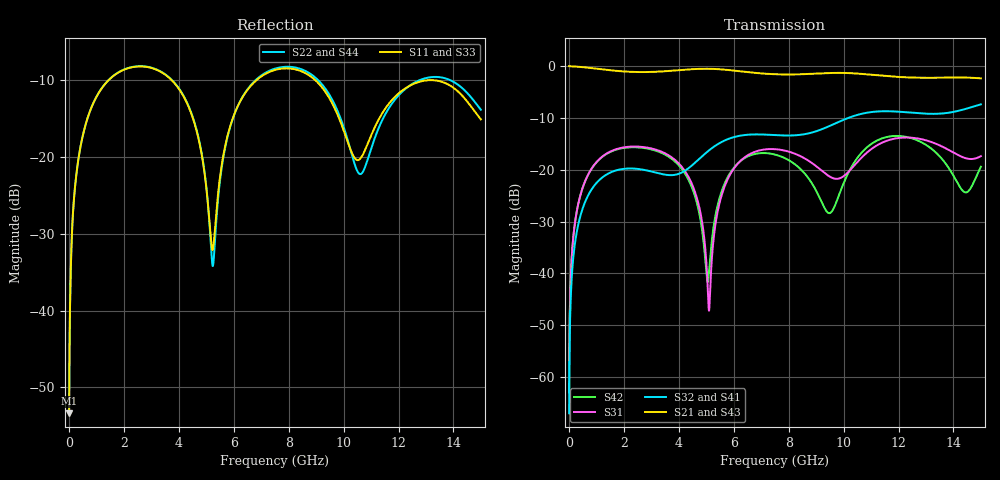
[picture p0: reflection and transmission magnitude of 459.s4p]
! Created with skrf 1.8.0 (http://scikit-rf.org).
# GHz S RI R 50.0
!freq ReS11 ImS11 ReS12 ImS12 ReS13 ImS13
! ReS14 ImS14
! ReS21 ImS21 ReS22 ImS22 ReS23 ImS23
! ReS24 ImS24
! ReS31 ImS31 ReS32 ImS32 ReS33 ImS33
! ReS34 ImS34
! ReS41 ImS41 ReS42 ImS42 ReS43 ImS43
! ReS44 ImS44
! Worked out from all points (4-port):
!   2499 points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, 5 MHz to 15 GHz, reference 50 ohm
!   strongest paths, dB at 5 MHz, 3.476 GHz, 7.19 GHz, 11.1 GHz, 15 GHz:
!     S21: 0.0, -1.0, -1.5, -1.7, -2.4
!     S43: 0.0, -1.0, -1.5, -1.7, -2.4
!     S32: -67.0, -20.9, -13.2, -8.8, -7.4
!     S41: -67.0, -21.0, -13.2, -8.8, -7.4
!     S31: -63.0, -16.8, -16.0, -15.7, -17.4
!     S42: -63.0, -17.0, -16.8, -14.7, -19.4
!   lowest |S11| = -53.4 dB at 5 MHz (marker M1), VSWR 1.00, Z = 50.2 + j0.13 ohm
!   |S11| at or under -10 dB: 3.74 GHz to 6.827 GHz (3.087 GHz wide, 58.4 % of centre); 8.97 GHz to 13.11 GHz (4.138 GHz wide, 37.5 % of centre); 13.25 GHz to end of sweep (the widest 3 of 4)
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0.005  0.00171 0.0013  0.9983 -0.00333  8.72e-05 0.000706  -8.45e-05 -0.000438
       0.9983 -0.00333  0.00171 0.0013  -8.45e-05 -0.000438  8.71e-05 0.000706
       8.72e-05 0.000706  -8.45e-05 -0.000438  0.00171 0.0013  0.9983 -0.00333
       -8.45e-05 -0.000438  8.71e-05 0.000706  0.9983 -0.00333  0.00171 0.0013
0.3126303  0.0258 0.085  0.9646 -0.2069  0.0125 0.0417  -0.0102 -0.0255
           0.9646 -0.2069  0.0259 0.085  -0.0102 -0.0255  0.0122 0.0418
           0.0125 0.0417  -0.0102 -0.0255  0.0258 0.085  0.9646 -0.2069
           -0.0102 -0.0255  0.0122 0.0418  0.9646 -0.2069  0.0259 0.085
1.519383  0.2753 0.1745  0.5345 -0.7371  0.1381 0.0599  -0.0942 -0.00343
          0.5345 -0.7371  0.2767 0.1735  -0.0942 -0.00336  0.1339 0.0656
          0.1381 0.0599  -0.0942 -0.00336  0.2752 0.1745  0.5346 -0.7371
          -0.0942 -0.00343  0.1339 0.0656  0.5346 -0.7371  0.2767 0.1734
5.095873  0.0274 -0.0316  -0.9291 -0.1552  -0.00433 0.000553  -0.0214 0.152
          -0.9291 -0.1552  0.0221 -0.0349  -0.0201 0.1522  0.0088 0.00511
          -0.00433 0.000553  -0.0201 0.1522  0.0292 -0.0304  -0.9292 -0.1551
          -0.0214 0.152  0.0088 0.00511  -0.9292 -0.1551  0.02 -0.0343
8.053356  0.3764 -0.00827  -0.0274 0.8296  0.1022 -0.1072  0.2102 -0.0399
          -0.0274 0.8296  0.3858 -0.0178  0.2098 -0.0421  0.1011 -0.0672
          0.1022 -0.1072  0.2098 -0.0421  0.3771 -0.0109  -0.0281 0.8292
          0.2102 -0.0399  0.1011 -0.0672  -0.0281 0.8292  0.3867 -0.0143
10.87953  0.1126 0.0472  0.8289 -0.0571  0.0278 0.146  -0.0399 -0.3535
          0.8289 -0.0571  0.0897 0.0357  -0.0446 -0.3531  0.057 0.1569
          0.0278 0.146  -0.0446 -0.3531  0.1118 0.0446  0.8292 -0.0548
          -0.0399 -0.3535  0.057 0.1569  0.8292 -0.0548  0.0902 0.0351
15  0.1705 -0.0431  -0.5859 -0.4859  -0.1349 0.0115  -0.2864 0.3179
    -0.5859 -0.4859  0.1848 -0.0839  -0.2793 0.3236  -0.0837 0.0666
    -0.1349 0.0115  -0.2793 0.3236  0.1753 -0.0454  -0.5823 -0.4895
    -0.2864 0.3179  -0.0837 0.0666  -0.5823 -0.4895  0.1858 -0.0857
